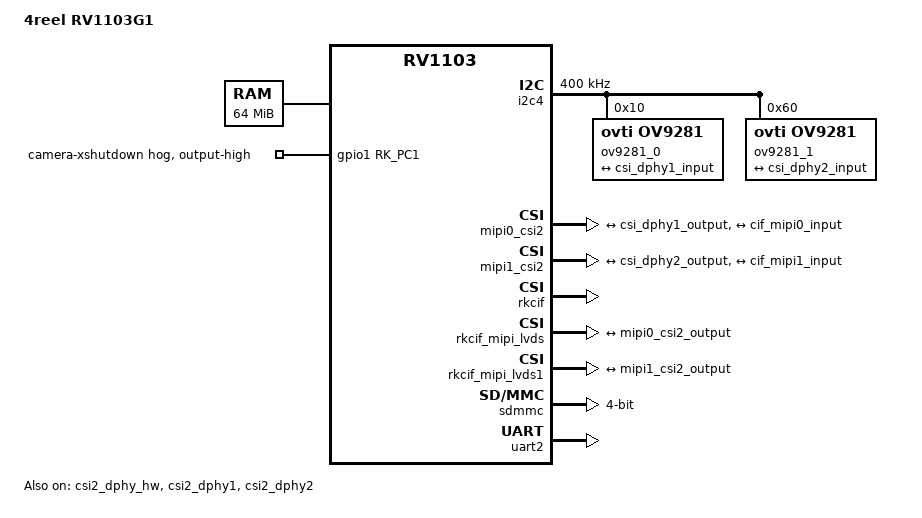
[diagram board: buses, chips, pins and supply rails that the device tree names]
// SPDX-License-Identifier: (GPL-2.0+ OR MIT)

/dts-v1/;

#include "rv1103.dtsi"

/ {
	model = "4reel RV1103G1";
	compatible = "machinehum,4reel-rv1103g1", "rockchip,rv1103";

	aliases {
		/delete-property/ mmc1;
		mmc0 = &sdmmc;
	};

	chosen {
		stdout-path = "serial2:115200n8";
	};

	memory@0 {
		device_type = "memory";
		reg = <0x00000000 0x04000000>;
	};

	/* Each sensor has its own free-running 24 MHz oscillator. */
	ov9281_xvclk0: ov9281-xvclk0 {
		compatible = "fixed-clock";
		#clock-cells = <0>;
		clock-frequency = <24000000>;
	};

	ov9281_xvclk1: ov9281-xvclk1 {
		compatible = "fixed-clock";
		#clock-cells = <0>;
		clock-frequency = <24000000>;
	};
};

&csi2_dphy_hw {
	status = "okay";
};

&csi2_dphy1 {
	status = "okay";

	ports {
		#address-cells = <1>;
		#size-cells = <0>;

		port@0 {
			reg = <0>;
			#address-cells = <1>;
			#size-cells = <0>;

			csi_dphy1_input: endpoint@1 {
				reg = <1>;
				remote-endpoint = <&ov9281_0_out>;
				data-lanes = <1 2>;
			};
		};

		port@1 {
			reg = <1>;
			#address-cells = <1>;
			#size-cells = <0>;

			csi_dphy1_output: endpoint@0 {
				reg = <0>;
				remote-endpoint = <&mipi0_csi2_input>;
			};
		};
	};
};

&csi2_dphy2 {
	status = "okay";

	ports {
		#address-cells = <1>;
		#size-cells = <0>;

		port@0 {
			reg = <0>;
			#address-cells = <1>;
			#size-cells = <0>;

			csi_dphy2_input: endpoint@1 {
				reg = <1>;
				remote-endpoint = <&ov9281_1_out>;
				data-lanes = <1 2>;
			};
		};

		port@1 {
			reg = <1>;
			#address-cells = <1>;
			#size-cells = <0>;

			csi_dphy2_output: endpoint@0 {
				reg = <0>;
				remote-endpoint = <&mipi1_csi2_input>;
			};
		};
	};
};

&gpio1 {
	gpio-line-names =
		"", "", "", "", "", "", "", "", /* A0-A7 */
		"", "", "", "", "", "", "", "", /* B0-B7 */
		"", "", "", "", "", "", "", "led2", /* C0-C7 */
		"", "led1", "", "", "", "", "", ""; /* D0-D7 */

	camera_xshutdown_hog: camera-xshutdown-hog {
		gpio-hog;
		gpios = <RK_PC1 GPIO_ACTIVE_HIGH>;
		output-high;
		line-name = "camera-xshutdown";
	};
};

&i2c4 {
	clock-frequency = <400000>;
	pinctrl-names = "default";
	pinctrl-0 = <&i2c4m1_xfer>;
	status = "okay";

	ov9281_0: ov9281@10 {
		compatible = "ovti,ov9281";
		reg = <0x10>;
		clocks = <&ov9281_xvclk0>;
		clock-names = "xvclk";
		rockchip,camera-module-index = <0>;
		rockchip,camera-module-facing = "back";
		rockchip,camera-module-name = "4reel-ov9281";
		rockchip,camera-module-lens-name = "unknown";

		port {
			ov9281_0_out: endpoint {
				remote-endpoint = <&csi_dphy1_input>;
				data-lanes = <1 2>;
			};
		};
	};

	ov9281_1: ov9281@60 {
		compatible = "ovti,ov9281";
		reg = <0x60>;
		clocks = <&ov9281_xvclk1>;
		clock-names = "xvclk";
		rockchip,camera-module-index = <1>;
		rockchip,camera-module-facing = "back";
		rockchip,camera-module-name = "4reel-ov9281";
		rockchip,camera-module-lens-name = "unknown";

		port {
			ov9281_1_out: endpoint {
				remote-endpoint = <&csi_dphy2_input>;
				data-lanes = <1 2>;
			};
		};
	};
};

&mipi0_csi2 {
	status = "okay";

	ports {
		#address-cells = <1>;
		#size-cells = <0>;

		port@0 {
			reg = <0>;
			#address-cells = <1>;
			#size-cells = <0>;

			mipi0_csi2_input: endpoint@1 {
				reg = <1>;
				remote-endpoint = <&csi_dphy1_output>;
			};
		};

		port@1 {
			reg = <1>;
			#address-cells = <1>;
			#size-cells = <0>;

			mipi0_csi2_output: endpoint@0 {
				reg = <0>;
				remote-endpoint = <&cif_mipi0_input>;
			};
		};
	};
};

&mipi1_csi2 {
	status = "okay";

	ports {
		#address-cells = <1>;
		#size-cells = <0>;

		port@0 {
			reg = <0>;
			#address-cells = <1>;
			#size-cells = <0>;

			mipi1_csi2_input: endpoint@1 {
				reg = <1>;
				remote-endpoint = <&csi_dphy2_output>;
			};
		};

		port@1 {
			reg = <1>;
			#address-cells = <1>;
			#size-cells = <0>;

			mipi1_csi2_output: endpoint@0 {
				reg = <0>;
				remote-endpoint = <&cif_mipi1_input>;
			};
		};
	};
};

&rkcif {
	status = "okay";
	pinctrl-names = "default";
	pinctrl-0 = <&mipi_pins>;
};

&rkcif_mipi_lvds {
	status = "okay";

	port {
		cif_mipi0_input: endpoint {
			remote-endpoint = <&mipi0_csi2_output>;
		};
	};
};

&rkcif_mipi_lvds1 {
	status = "okay";

	port {
		cif_mipi1_input: endpoint {
			remote-endpoint = <&mipi1_csi2_output>;
		};
	};
};

&sdmmc {
	bus-width = <4>;
	cap-sd-highspeed;
	disable-wp;
	max-frequency = <50000000>;
	no-1-8-v;
	no-mmc;
	no-sdio;
	pinctrl-names = "default";
	pinctrl-0 = <&sdmmc0_clk &sdmmc0_cmd &sdmmc0_det &sdmmc0_bus4>;
	status = "okay";
};

&uart2 {
	status = "okay";
};
